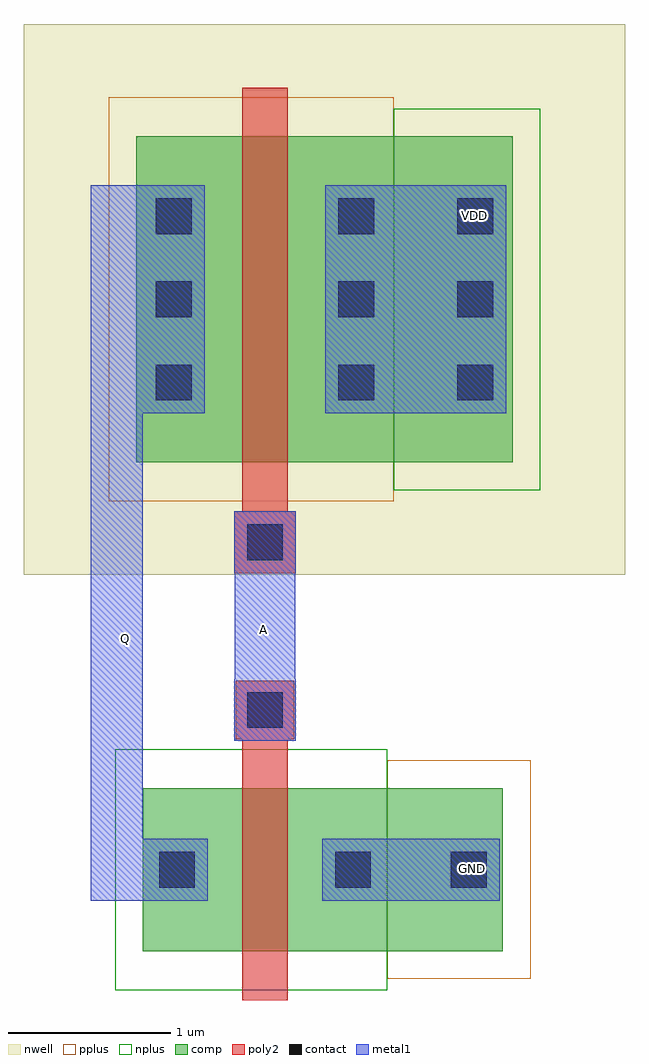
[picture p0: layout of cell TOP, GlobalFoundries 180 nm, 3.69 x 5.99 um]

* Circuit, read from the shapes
.subckt TOP A GND Q VDD
XM1 GND A Q GND nfet_03v3 w=1u l=0.28u
XM2 VDD A Q VDD pfet_03v3 w=2u l=0.28u
.ends

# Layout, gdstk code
import gdstk
lib = gdstk.Library(unit=1e-6, precision=5e-09)
def R(c, l, rs):  # rectangles x0, y0, x1, y1
    for r in rs: c.add(gdstk.rectangle(r[:2], r[2:], *l))
def A(c, l, x, y, w, h, nx, ny, dx, dy):  # array of equal rectangles
    R(c, l, [(x+i*dx, y+j*dy, x+i*dx+w, y+j*dy+h) for i in range(nx) for j in range(ny)])
nwell = (21, 0)
comp = (22, 0)
poly2 = (30, 0)
pplus = (31, 0)
nplus = (32, 0)
contact = (33, 0)
metal1 = (34, 0)

pfet_5 = lib.new_cell('pfet$5')
R(pfet_5, nwell, [(-1.15,-0.69,2.54,2.69)])
R(pfet_5, comp, [(-0.46,0,0,2), (0,0,0.66,2), (0.66,0,1.12,2), (1.12,0,1.85,2)])
R(pfet_5, poly2, [(0.14,-0.68,0.52,-0.3), (0.19,-0.3,0.47,2.3)])
R(pfet_5, pplus, [(-0.63,-0.24,1.12,2.24)])
R(pfet_5, nplus, [(1.12,-0.17,2.02,2.17)])
A(pfet_5, contact, -0.34, 0.38, 0.22, 0.22, 1, 3, 0, 0.51)
A(pfet_5, contact, 0.78, 0.38, 0.22, 0.22, 1, 3, 0, 0.51)
A(pfet_5, contact, 1.51, 0.38, 0.22, 0.22, 1, 3, 0, 0.51)
R(pfet_5, contact, [(0.22,-0.6,0.44,-0.38)])
R(pfet_5, metal1, [(0.14,-0.68,0.52,-0.3), (-0.42,0.3,-0.04,1.7), (0.7,0.3,1.08,1.7), (1.43,0.3,1.81,1.7)])

nfet_1 = lib.new_cell('nfet$1')
R(nfet_1, comp, [(-0.42,0,0,1), (0,0,0.66,1), (0.66,0,1.08,1), (1.08,0,1.79,1)])
R(nfet_1, poly2, [(0.19,-0.3,0.47,1.3), (0.15,1.3,0.51,1.66)])
R(nfet_1, pplus, [(1.08,-0.17,1.96,1.17)])
R(nfet_1, nplus, [(-0.59,-0.24,1.08,1.24)])
R(nfet_1, contact, [(-0.32,0.39,-0.1,0.61), (0.76,0.39,0.98,0.61), (1.47,0.39,1.69,0.61), (0.22,1.37,0.44,1.59)])
R(nfet_1, metal1, [(-0.4,0.31,-0.02,0.69), (0.68,0.31,1.06,0.69), (1.39,0.31,1.77,0.69), (0.14,1.29,0.52,1.67)])

top = lib.new_cell('TOP')
R(top, metal1, [(-0.74,0.31,-0.42,4.7), (-0.42,0.31,-0.4,0.69), (0.68,0.31,1.77,0.69), (0.145,1.29,0.515,2.7), (0.7,3.3,1.81,4.7)])
top.add(gdstk.Reference(pfet_5, (0,3)))
top.add(gdstk.Reference(nfet_1, (0,0)))
top.add(gdstk.Label('A', (0.32,1.975), layer=34, texttype=10))
top.add(gdstk.Label('Q', (-0.525,1.92), layer=34, texttype=10))
top.add(gdstk.Label('VDD', (1.615,4.515), layer=34, texttype=10))
top.add(gdstk.Label('GND', (1.605,0.505), layer=34, texttype=10))

lib.write_gds('TOP.gds')
